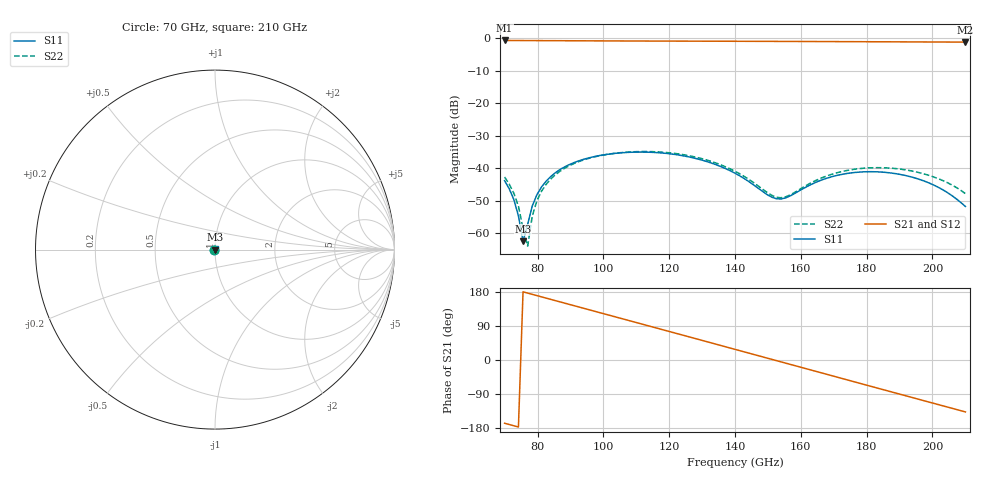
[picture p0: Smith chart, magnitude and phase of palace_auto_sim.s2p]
#  GHZ S DB R 50
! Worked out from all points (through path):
!   101 points, 70 GHz to 210 GHz, reference 50 ohm
!   highest |S21| = -0.78 dB at 70 GHz (marker M1); lowest = -1.3 dB at 210 GHz (marker M2)
!   group delay of S21, straight-line fit = 6.55 ps
!   lowest |S11| = -62.4 dB at 75.6 GHz (marker M3), VSWR 1.00, Z = 50 - j0.0756 ohm
!   |S11| at or under -10 dB: start of sweep to end of sweep
!   |S22| runs from -63.9 to -34.9 dB; largest |S21 - S12| = 1.5e-12
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70  -43.82 -140.4  -0.78 -166.9  -0.78 -166.9  -42.68 -143.2
72.8  -49.60 -140.8  -0.79 -173.5  -0.79 -173.5  -47.65 -146.7
74.2  -54.62 -133.9  -0.80 -176.8  -0.80 -176.8  -51.63 -145.8
75.6  -62.42 -88.6  -0.81 179.9  -0.81 179.9  -58.48 -134.7
77  -57.23 -14.3  -0.81 176.6  -0.81 176.6  -63.91 -37.6
78.4  -51.57 -1.9  -0.82 173.3  -0.82 173.3  -54.68 -3.1
79.8  -48.14 0.1  -0.82 170.0  -0.82 170.0  -50.01 0.5
81.2  -45.76 -0.5  -0.83 166.7  -0.83 166.7  -47.07 0.1
84  -42.55 -4.3  -0.84 160.1  -0.84 160.1  -43.32 -3.9
86.8  -40.42 -9.4  -0.86 153.5  -0.86 153.5  -40.93 -9.1
93.8  -37.31 -23.2  -0.89 137.0  -0.89 137.0  -37.51 -23.4
106.4  -35.19 -49.0  -0.94 107.3  -0.94 107.3  -35.11 -49.6
117.6  -35.29 -72.7  -0.97 81.0  -0.97 81.0  -35.04 -73.7
128.8  -37.18 -96.2  -1.00 54.6  -1.00 54.6  -36.76 -97.6
140  -41.52 -114.5  -1.03 28.1  -1.03 28.1  -40.92 -116.6
152.6  -49.35 -88.9  -1.07 -1.7  -1.07 -1.7  -48.89 -93.2
155.4  -49.08 -71.6  -1.08 -8.3  -1.08 -8.3  -48.77 -74.9
163.8  -44.66 -55.3  -1.11 -28.1  -1.11 -28.1  -44.11 -56.0
176.4  -41.29 -76.7  -1.15 -57.9  -1.15 -57.9  -40.29 -76.1
187.6  -41.48 -106.6  -1.20 -84.3  -1.20 -84.3  -39.99 -104.2
200.2  -45.07 -147.9  -1.25 -114.0  -1.25 -114.0  -42.61 -139.9
210  -51.72 161.9  -1.28 -137.0  -1.28 -137.0  -47.77 -171.0
